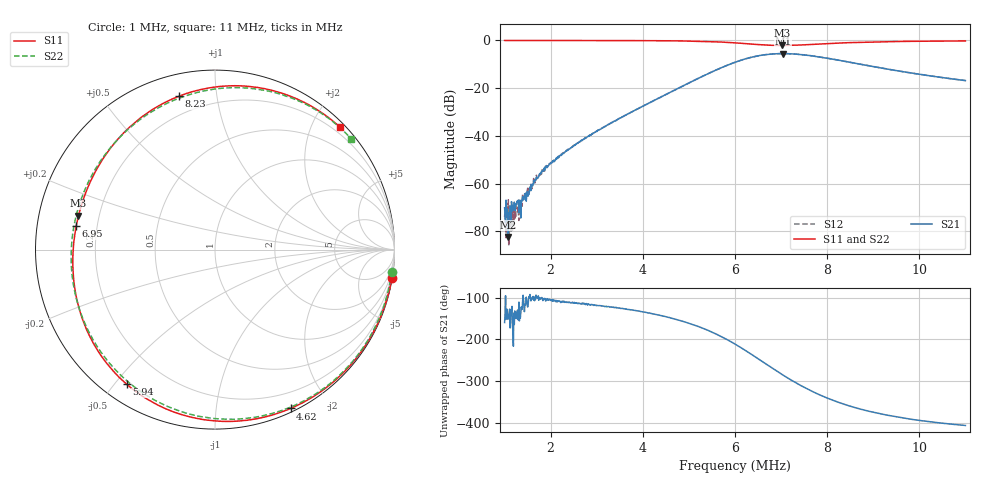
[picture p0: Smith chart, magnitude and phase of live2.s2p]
# MHz S DB R 50
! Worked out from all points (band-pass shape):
!   1001 points, 1 MHz to 11 MHz, reference 50 ohm
!   highest |S21| = -5.52 dB at 7.04 MHz (marker M1); lowest = -82.3 dB at 1.08 MHz (marker M2)
!   |S21| within 3 dB of the highest: 6.094 MHz to 8.313 MHz (2.22 MHz wide, 30.8 % of centre)
!   lowest |S11| = -2.1 dB at 7.02 MHz (marker M3), VSWR 8.25, Z = 6.15 + j6.01 ohm
!   |S11| at or under -10 dB: nowhere
!   |S22| runs from -2.0 to -0.1 dB; largest |S21 - S12| = 0.0048
!   S11 on the Smith chart (normalised r, x): 1 MHz: 0, -12; 4.62 MHz: 0.04, -1.58; 5.94 MHz: 0.07, -0.54; 6.95 MHz: 0.12, +0.08; 8.23 MHz: 0.11, +0.79; 11 MHz: 0.09, +2.45
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1  -0.02 -9.3  -70.07 -159.9  -73.90 -167.9  -0.06 -7.3
1.06  -0.02 -9.8  -70.61 -128.2  -70.65 -117.8  -0.06 -7.7
1.08  -0.02 -10.0  -82.31 -140.3  -66.75 -149.1  -0.06 -7.9
1.12  -0.02 -10.4  -69.43 -172.9  -71.55 -140.1  -0.06 -8.2
1.18  -0.02 -10.9  -69.34 -177.3  -71.52 -175.1  -0.06 -8.6
1.36  -0.02 -12.6  -67.80 -122.4  -66.98 -111.3  -0.06 -9.9
1.44  -0.03 -13.4  -64.48 -117.1  -63.66 -117.3  -0.07 -10.5
1.86  -0.03 -17.6  -53.44 -101.8  -54.79 -105.2  -0.07 -13.7
2.67  -0.04 -27.1  -41.71 -113.6  -41.93 -113.8  -0.07 -21.2
4.34  -0.13 -56.8  -24.19 -141.9  -24.23 -142.3  -0.13 -45.6
4.62  -0.17 -64.6  -21.51 -149.4  -21.50 -149.6  -0.16 -52.3
5.37  -0.44 -92.6  -14.35 -176.6  -14.35 -177.0  -0.37 -78.0
5.94  -0.94 -123.3  -9.57 152.3  -9.57 151.9  -0.84 -109.5
6  -1.02 -127.0  -9.15 148.5  -9.15 148.1  -0.92 -113.6
6.5  -1.74 -159.9  -6.46 113.3  -6.45 112.8  -1.61 -152.4
6.95  -2.11 170.5  -5.55 80.5  -5.54 80.0  -1.97 169.5
7.02  -2.12 166.1  -5.52 75.5  -5.52 75.1  -1.98 163.8
7.04  -2.12 164.8  -5.52 74.2  -5.52 73.7  -1.98 162.2
7.67  -1.68 128.8  -6.46 35.3  -6.46 34.8  -1.53 118.5
8.23  -1.13 103.3  -8.23 9.3  -8.22 8.9  -1.00 91.6
9.34  -0.51 70.0  -12.11 -22.9  -12.11 -23.3  -0.44 60.7
11  -0.22 44.4  -16.83 -46.7  -16.81 -47.2  -0.20 39.2
